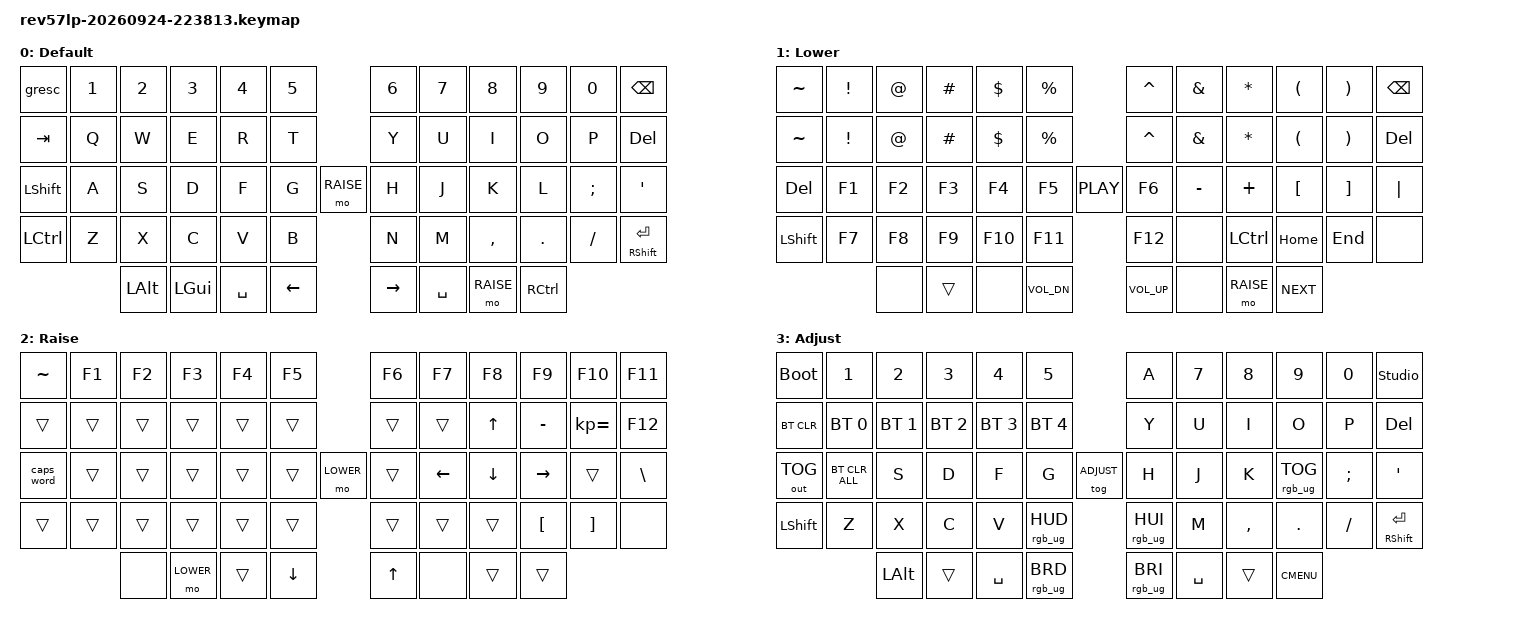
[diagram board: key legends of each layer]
/*
 * Copyright (c) 2022 The ZMK Contributors
 *
 * SPDX-License-Identifier: MIT
 */

#include <behaviors.dtsi>
#include <dt-bindings/zmk/keys.h>
#include <dt-bindings/zmk/bt.h>
#include <dt-bindings/zmk/outputs.h>
#include <dt-bindings/zmk/rgb.h>

#define DEFAULT 0
#define LOWER 1
#define RAISE 2
#define ADJUST 3
/ {
    conditional_layers {
        compatible = "zmk,conditional-layers";
        tri_layer {
            if-layers = <1 2>;
            then-layer = <3>;
        };
    };

    macros {
        forty_two: forty_two {
            label = "ZM_forty_two";
            compatible = "zmk,behavior-macro";
            #binding-cells = <0>;
            bindings
                = <&macro_tap &kp N4>
                , <&macro_tap &kp N2>
                ;
        };
    };

    keymap {
        compatible = "zmk,keymap";

        default_layer {
            display-name = "Default";
            bindings = <
                &gresc          &kp N1          &kp N2          &kp N3          &kp N4          &kp N5                          &kp N6          &kp N7          &kp N8          &kp N9          &kp N0          &kp BSPC
                &kp TAB         &kp Q           &kp W           &kp E           &kp R           &kp T                           &kp Y           &kp U           &kp I           &kp O           &kp P           &kp DEL
                &kp LSHIFT      &kp A           &kp S           &kp D           &kp F           &kp G           &mo RAISE       &kp H           &kp J           &kp K           &kp L           &kp SEMI        &kp SQT
                &kp LCTRL       &kp Z           &kp X           &kp C           &kp V           &kp B                           &kp N           &kp M           &kp COMMA       &kp DOT         &kp SLASH       &mt RSHIFT RET
                                                &kp LALT        &kp LGUI        &kp SPACE       &kp LEFT                        &kp RIGHT       &kp SPACE       &mo RAISE       &kp RCTRL
            >;
        };

        lower_layer {
            display-name = "Lower";
            bindings = <
                &kp TILDE       &kp EXCL        &kp AT          &kp HASH        &kp DLLR        &kp PRCNT                       &kp CARET       &kp AMPS        &kp STAR        &kp LPAR        &kp RPAR        &kp BSPC
                &kp TILDE       &kp EXCL        &kp AT          &kp HASH        &kp DLLR        &kp PRCNT                       &kp CARET       &kp AMPS        &kp STAR        &kp LPAR        &kp RPAR        &kp DEL
                &kp DEL         &kp F1          &kp F2          &kp F3          &kp F4          &kp F5          &kp C_PLAY      &kp F6          &kp MINUS       &kp PLUS        &kp LBKT        &kp RBKT        &kp PIPE
                &kp LSHIFT      &kp F7          &kp F8          &kp F9          &kp F10         &kp F11                         &kp F12         &none           &kp LCTRL       &kp HOME        &kp END         &none
                                                &none           &trans          &none           &kp C_VOL_DN                    &kp C_VOL_UP    &none           &mo RAISE       &kp C_NEXT
            >;
        };

        raise_layer {
            display-name = "Raise";
            bindings = <
                &kp TILDE       &kp F1          &kp F2          &kp F3          &kp F4          &kp F5                          &kp F6          &kp F7          &kp F8          &kp F9          &kp F10         &kp F11
                &trans          &trans          &trans          &trans          &trans          &trans                          &trans          &trans          &kp UP          &kp MINUS       &kp KP_EQUAL    &kp F12
                &caps_word      &trans          &trans          &trans          &trans          &trans          &mo LOWER       &trans          &kp LEFT        &kp DOWN        &kp RIGHT       &trans          &kp BSLH
                &trans          &trans          &trans          &trans          &trans          &trans                          &trans          &trans          &trans          &kp LBKT        &kp RBKT        &none
                                                &none           &mo LOWER       &trans          &kp DOWN                        &kp UP          &none           &trans          &trans
            >;
        };

        adjust_layer {
            display-name = "Adjust";
            bindings = <
                &bootloader     &kp N1          &kp N2          &kp N3          &kp N4          &kp N5                          &kp A           &kp N7          &kp N8          &kp N9          &kp N0          &studio_unlock
                &bt BT_CLR      &bt BT_SEL 0    &bt BT_SEL 1    &bt BT_SEL 2    &bt BT_SEL 3    &bt BT_SEL 4                    &kp Y           &kp U           &kp I           &kp O           &kp P           &kp DEL
                &out OUT_TOG    &bt BT_CLR_ALL  &kp S           &kp D           &kp F           &kp G           &tog ADJUST     &kp H           &kp J           &kp K           &rgb_ug RGB_TOG &kp SEMI        &kp SQT
                &kp LSHIFT      &kp Z           &kp X           &kp C           &kp V           &rgb_ug RGB_HUD                 &rgb_ug RGB_HUI &kp M           &kp COMMA       &kp DOT         &kp SLASH       &mt RSHIFT RET
                                                &kp LALT        &trans          &kp SPACE       &rgb_ug RGB_BRD                 &rgb_ug RGB_BRI &kp SPACE       &trans          &kp K_CMENU
            >;
        };

        spare_layer_1 {
            status = "reserved";
        };

        spare_layer_2 {
            status = "reserved";
        };
    };
};
